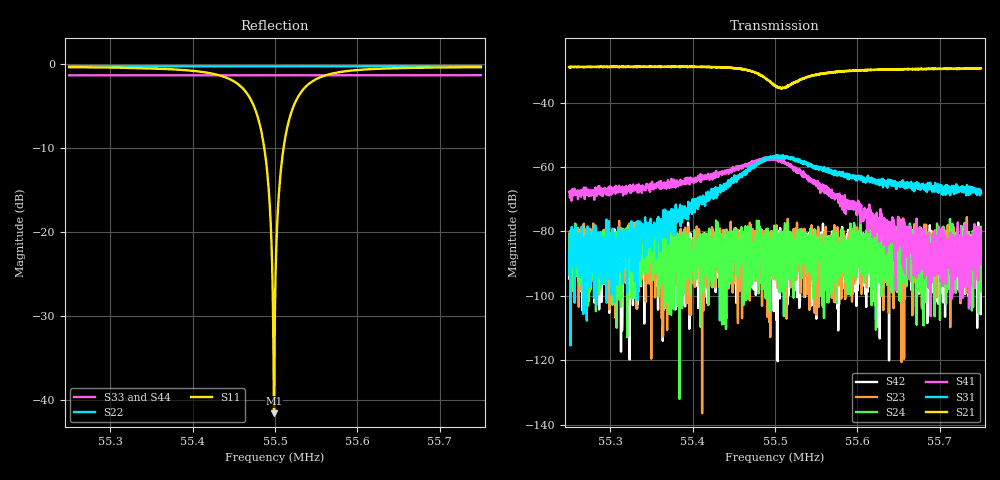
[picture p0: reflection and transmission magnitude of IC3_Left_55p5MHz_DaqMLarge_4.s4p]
#  HZ  S  DB  R  50.00
! Rohde & Schwarz Vector Network Analyzer
! Rohde-Schwarz,ZNB8-4Port,1311601044102961,2.82
! Created: UTC 2/12/2019, 12:11:06 PM
! freq[Hz]  db:S11  ang:S11  db:S12  ang:S12  db:S13  ang:S13  db:S14  ang:S14
!  db:S21  ang:S21  db:S22  ang:S22  db:S23  ang:S23  db:S24  ang:S24
!  db:S31  ang:S31  db:S32  ang:S32  db:S33  ang:S33  db:S34  ang:S34
!  db:S41  ang:S41  db:S42  ang:S42  db:S43  ang:S43  db:S44  ang:S44
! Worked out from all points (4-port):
!   2001 points, 55.25 MHz to 55.75 MHz, reference 50 ohm
!   strongest paths, dB at 55.25 MHz, 55.375 MHz, 55.5 MHz, 55.625 MHz, 55.75 MHz:
!     S21: -29.0, -28.9, -34.6, -29.9, -29.4
!     S31: -93.5, -76.8, -56.9, -64.1, -68.1
!     S41: -67.7, -65.3, -57.3, -79.3, -84.0
!     S24: -83.1, -83.8, -86.2, -82.1, -78.6
!     S23: -89.6, -84.3, -78.7, -87.6, -85.0
!     S42: -94.6, -82.3, -98.7, -83.4, -85.9
!   lowest |S11| = -41.5 dB at 55.4988 MHz (marker M1), VSWR 1.02, Z = 49.6 - j0.754 ohm
!   |S11| at or under -10 dB: 55.48695 MHz to 55.51039 MHz (23.44 kHz wide, 0.0422 % of centre)
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5.525e7  -0.41 -107.6  -28.93 86.7  -83.01 -147.6  -69.16 -140.8
         -28.99 86.5  -0.31 101.3  -89.56 27.9  -83.11 -86.3
         -93.47 103.2  -97.09 135.0  -1.38 41.8  -92.09 159.0
         -67.73 -129.3  -94.61 132.0  -103.14 -68.6  -1.38 35.4
5.54635e7  -3.21 -155.5  -29.77 59.9  -61.72 1.5  -59.78 -170.4
           -29.70 60.1  -0.31 97.4  -87.39 113.2  -81.62 -49.1
           -62.09 8.1  -88.65 -38.3  -1.38 39.3  -83.31 -66.4
           -59.60 -169.6  -85.21 12.6  -84.21 92.1  -1.37 32.8
5.5488e7  -10.70 175.9  -32.30 52.9  -57.84 -24.1  -57.72 159.4
          -32.47 52.5  -0.30 97.0  -94.67 -164.9  -92.03 -168.3
          -57.87 -26.7  -82.02 140.4  -1.37 39.0  -92.96 161.1
          -57.31 160.6  -84.58 -11.3  -100.10 -8.5  -1.37 32.6
5.549875e7  -41.54 -115.0  -34.52 57.3  -56.83 -41.3  -57.97 141.8
            -34.42 57.9  -0.31 96.8  -82.06 -140.5  -82.91 4.1
            -57.03 -40.5  -82.59 -157.6  -1.37 38.9  -81.68 -8.5
            -57.73 139.4  -87.56 30.3  -86.24 15.4  -1.36 32.4
5.55095e7  -10.63 -43.8  -35.51 75.1  -56.78 -60.3  -58.66 126.2
           -35.42 75.0  -0.30 96.6  -83.32 96.3  -92.95 99.9
           -56.29 -60.2  -94.40 40.2  -1.37 38.8  -105.11 48.1
           -58.57 126.5  -95.84 -147.9  -90.34 175.4  -1.37 32.3
5.553425e7  -3.05 -73.3  -32.58 92.6  -58.95 -91.2  -62.79 92.6
            -32.62 93.2  -0.30 96.1  -82.30 119.9  -84.86 -6.3
            -58.89 -89.3  -100.29 128.2  -1.37 38.5  -89.38 -86.3
            -61.36 94.1  -81.96 -15.2  -89.59 60.5  -1.36 32.0
5.575e7  -0.41 -122.3  -29.44 74.6  -67.63 -134.8  -87.28 -93.3
         -29.42 74.8  -0.30 92.3  -85.00 -132.5  -78.63 145.3
         -68.07 -143.5  -86.28 -87.1  -1.36 36.0  -83.01 -153.8
         -84.03 135.1  -85.90 -23.1  -90.47 85.2  -1.36 29.4
